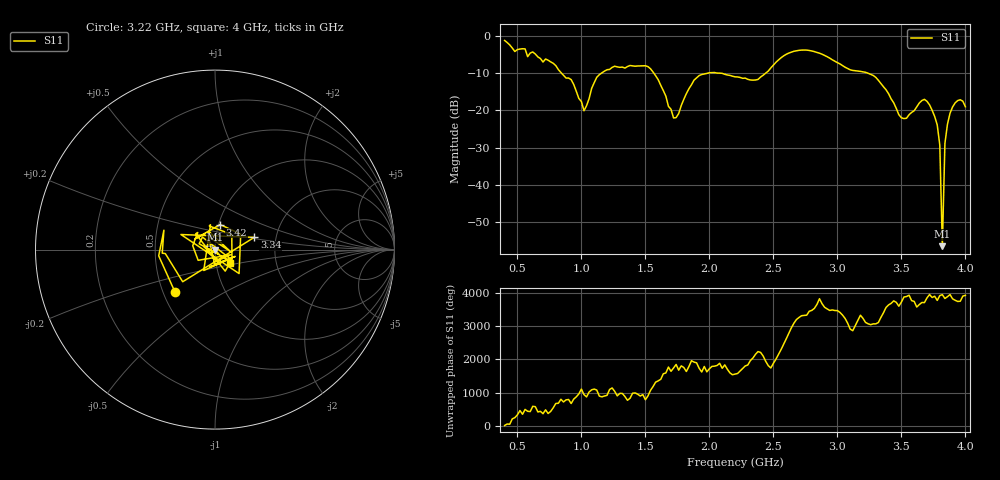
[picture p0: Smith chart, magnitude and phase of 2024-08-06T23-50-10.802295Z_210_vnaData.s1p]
!Created with skrf (http://scikit-rf.org).
# Hz S RI R 50.0
!freq ReS11 ImS11
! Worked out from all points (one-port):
!   181 points, 400 MHz to 4 GHz, reference 50 ohm
!   lowest |S11| = -56.6 dB at 3.82 GHz (marker M1), VSWR 1.00, Z = 50.1 - j0.0557 ohm
!   |S11| at or under -10 dB: 1.566 GHz to 1.987 GHz (421 MHz wide, 23.7 % of centre); 2.084 GHz to 2.439 GHz (355.4 MHz wide, 15.7 % of centre); 3.239 GHz to end of sweep (the widest 3 of 4)
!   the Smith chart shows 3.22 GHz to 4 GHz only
!   S11 on the Smith chart (normalised r, x): 3.22 GHz: 0.58, -0.30; 3.34 GHz: 1.54, +0.22; 3.42 GHz: 1.02, +0.29; 4 GHz: 1.16, -0.18
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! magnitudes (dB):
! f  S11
! 400 MHz  -1.2
! 860 MHz  -10.6
! 920 MHz  -11.7
! 1.02 GHz  -20.1
! 1.12 GHz  -11.1
! 1.3 GHz  -8.4
! 1.52 GHz  -8.2
! 1.6 GHz  -11.8
! 1.72 GHz  -22.1
! 1.76 GHz  -20.9
! 1.92 GHz  -10.6
! 2.2 GHz  -11.0
! 2.38 GHz  -11.7
! 2.66 GHz  -4.1
! 3.1 GHz  -9.1
! 3.22 GHz  -9.8
! 3.34 GHz  -12.8
! 3.42 GHz  -16.9
! 3.5 GHz  -22.0
! 3.56 GHz  -21.2
! 3.68 GHz  -17.0
! 3.78 GHz  -23.9
! 3.8 GHz  -29.3
! 3.82 GHz  -56.6
! 3.84 GHz  -28.9
! 3.86 GHz  -23.7
! 3.92 GHz  -18.0
! 4 GHz  -19.0
